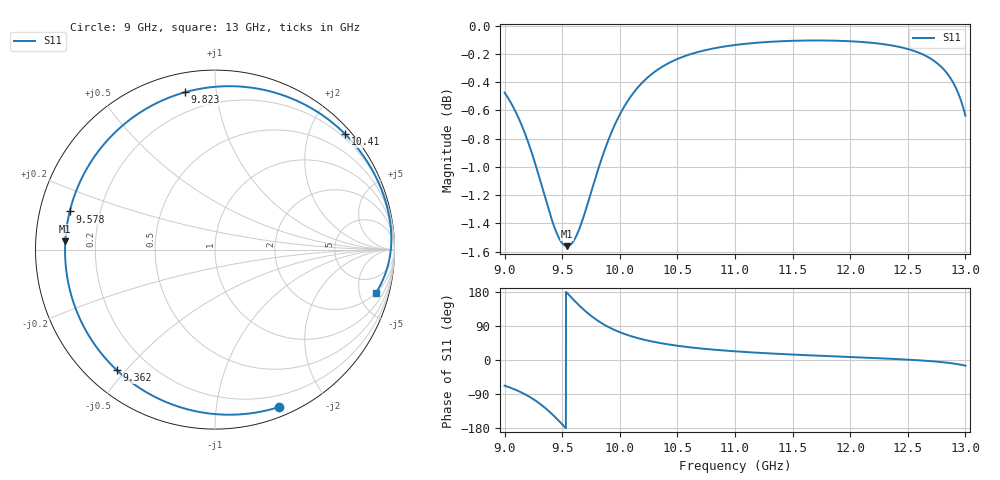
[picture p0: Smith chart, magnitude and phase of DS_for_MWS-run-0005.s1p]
! TOUCHSTONE file generated by CST DESIGN STUDIO
! Date and time: Tue Feb  4 17:27:13 2025
! Project name: C:\Work\MatlabApps\UnitCellOptimizationMatlab\CST\unitcell.cst
! Tree item: Tasks\Sweep1\SPara1\S-Parameters
! Header version: 2024
! Port assignment regex: !\s*Touchstone port\s*([0-9]+)\s*=\s*(CST MWS port|CST DES external port|CST DES block port)\s*(.+)\s* \(\"(.*)\"\)(\s*mode\s*([0-9]+))?.*
! Touchstone port assignment:
! Touchstone port 1 = CST DES external port 1 ("")
# GHz S MA R 50
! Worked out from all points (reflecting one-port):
!   4001 points, 9 GHz to 13 GHz, reference 50 ohm
!   lowest |S11| = -1.6 dB at 9.542 GHz (marker M1), VSWR 11.16, Z = 4.48 + j1.38 ohm
!   phase of S11 starts at -68 deg and turns -307 deg over the sweep
!   S11 on the Smith chart (normalised r, x): 9 GHz: 0.09, -1.49; 9.362 GHz: 0.09, -0.47; 9.578 GHz: 0.09, +0.13; 9.823 GHz: 0.10, +0.82; 10.41 GHz: 0.12, +2.63; 13 GHz: 2.01, -7.07
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9  0.9469 -67.7
9.102  0.9311 -79.5
9.213  0.9073 -96.6
9.291  0.8866 -112.0
9.362  0.8664 -129.1
9.399  0.8564 -139.1
9.437  0.8475 -150.1
9.5  0.8375 -169.7
9.542  0.8355 176.8
9.578  0.8369 165.3
9.634  0.8445 147.9
9.701  0.8596 129.0
9.76  0.8755 114.3
9.823  0.8923 100.9
9.902  0.9113 87.0
10  0.9301 73.4
10.088  0.943 63.8
10.184  0.9536 55.5
10.291  0.9623 48.2
10.412  0.9694 41.6
10.5  0.9732 37.6
10.721  0.9798 29.9
11  0.9844 22.9
11.5  0.9877 14.4
12  0.9874 7.8
12.5  0.9812 0.9
12.793  0.9668 -5.5
13  0.9293 -14.9
